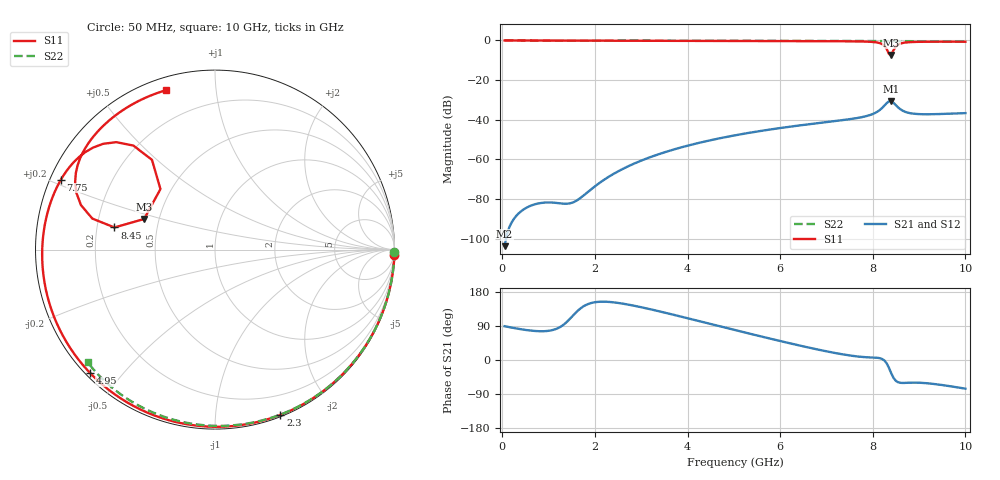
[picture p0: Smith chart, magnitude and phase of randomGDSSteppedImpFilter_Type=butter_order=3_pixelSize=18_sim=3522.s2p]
! freq	dB(S11)	phase(S11)	dB(S12)	phase(S12)
!  dB(S21)	phase(S21)	dB(S22)	phase(S22)
!S-par simulation data
#  GHz  S  DB  R 50
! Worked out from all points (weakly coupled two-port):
!   200 points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, 50 MHz to 10 GHz, reference 50 ohm
!   highest |S21| = -30.65 dB at 8.4 GHz (marker M1); lowest = -103.8 dB at 50 MHz (marker M2)
!   lowest |S11| = -7.3 dB at 8.4 GHz (marker M3), VSWR 2.51, Z = 20.6 + j8.63 ohm
!   |S11| at or under -10 dB: nowhere
!   |S22| runs from -0.5 to 0.0 dB; largest |S21 - S12| = 0
!   S11 on the Smith chart (normalised r, x): 50 MHz: 0, -73; 2.3 GHz: 0.02, -1.47; 4.95 GHz: 0.01, -0.41; 7.75 GHz: 0.03, +0.22; 8.45 GHz: 0.27, +0.10; 10 GHz: 0.06, +0.74
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0.05  -0.00 -1.6  -103.82 89.1  -103.82 89.1  -0.00 -0.8
0.85  -0.03 -26.2  -81.97 75.9  -81.97 75.9  -0.02 -13.5
1.65  -0.06 -50.0  -80.12 132.2  -80.12 132.2  -0.03 -26.1
1.75  -0.07 -52.9  -78.34 141.4  -78.34 141.4  -0.04 -27.6
2.3  -0.08 -68.4  -68.77 153.3  -68.77 153.3  -0.05 -36.1
2.8  -0.10 -82.0  -62.62 144.3  -62.62 144.3  -0.06 -43.6
3.4  -0.12 -97.6  -57.23 128.2  -57.23 128.2  -0.07 -52.5
4.95  -0.19 -135.3  -48.20 81.3  -48.20 81.3  -0.11 -74.6
5.05  -0.20 -137.6  -47.77 78.3  -47.77 78.3  -0.12 -76.0
5.9  -0.25 -157.3  -44.53 53.0  -44.53 53.0  -0.15 -87.4
6.7  -0.31 -176.2  -42.06 30.6  -42.06 30.6  -0.19 -97.8
7.75  -0.51 155.6  -38.78 8.3  -38.78 8.3  -0.26 -111.1
8.05  -0.88 143.1  -36.59 6.2  -36.59 6.2  -0.28 -114.8
8.2  -1.80 132.6  -34.12 2.9  -34.12 2.9  -0.29 -116.6
8.3  -4.28 125.1  -31.65 -8.7  -31.65 -8.7  -0.30 -117.8
8.35  -6.86 132.0  -30.71 -20.8  -30.71 -20.8  -0.30 -118.5
8.4  -7.33 156.7  -30.65 -35.4  -30.65 -35.4  -0.31 -119.1
8.45  -4.83 167.6  -31.50 -47.7  -31.50 -47.7  -0.31 -119.7
8.55  -2.08 161.6  -33.87 -58.8  -33.87 -58.8  -0.32 -120.9
8.7  -1.06 151.1  -36.01 -60.5  -36.01 -60.5  -0.33 -122.8
9.2  -0.64 131.3  -37.24 -61.7  -37.24 -61.7  -0.38 -128.8
10  -0.64 107.0  -36.67 -75.6  -36.67 -75.6  -0.47 -138.5
